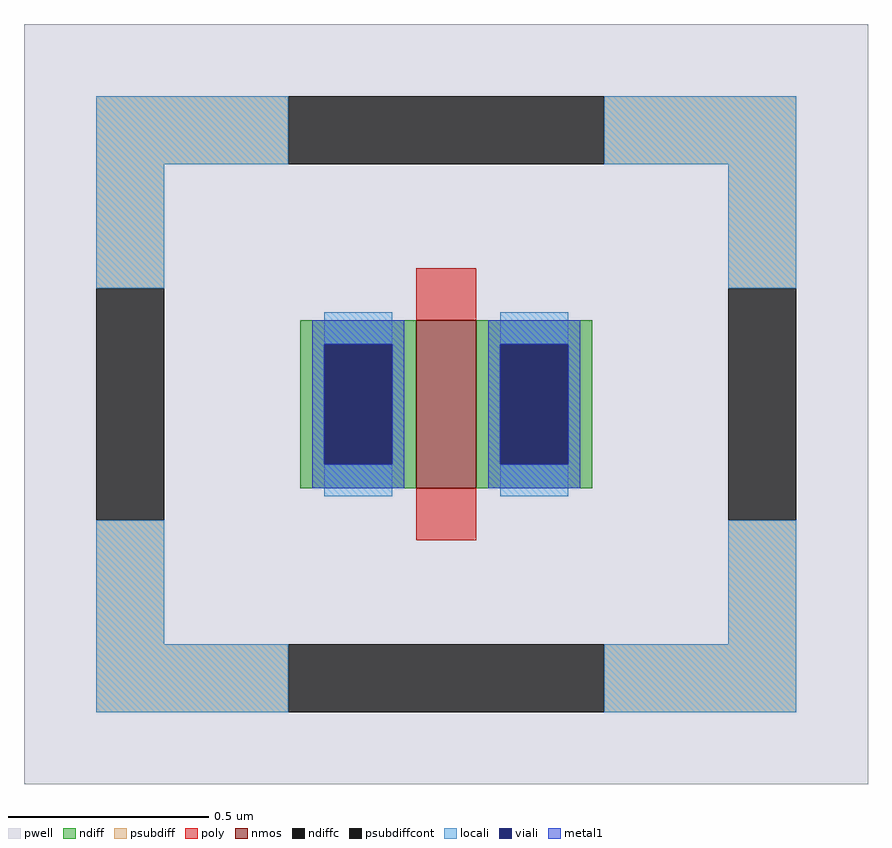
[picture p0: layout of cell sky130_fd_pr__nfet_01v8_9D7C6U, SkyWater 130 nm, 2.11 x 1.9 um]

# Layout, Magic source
magic
tech sky130A
magscale 1 2
<< pwell >>
rect -211 -190 211 190
<< nmos >>
rect -15 -42 15 42
<< ndiff >>
rect -73 30 -15 42
rect -73 -30 -61 30
rect -27 -30 -15 30
rect -73 -42 -15 -30
rect 15 30 73 42
rect 15 -30 27 30
rect 61 -30 73 30
rect 15 -42 73 -30
<< ndiffc >>
rect -61 -30 -27 30
rect 27 -30 61 30
<< psubdiff >>
rect -175 120 -79 154
rect 79 120 175 154
rect -175 58 -141 120
rect 141 58 175 120
rect -175 -120 -141 -58
rect 141 -120 175 -58
rect -175 -154 -79 -120
rect 79 -154 175 -120
<< psubdiffcont >>
rect -79 120 79 154
rect -175 -58 -141 58
rect 141 -58 175 58
rect -79 -154 79 -120
<< poly >>
rect -15 42 15 68
rect -15 -68 15 -42
<< locali >>
rect -175 120 -79 154
rect 79 120 175 154
rect -175 58 -141 120
rect 141 58 175 120
rect -61 30 -27 46
rect -61 -46 -27 -30
rect 27 30 61 46
rect 27 -46 61 -30
rect -175 -120 -141 -58
rect 141 -120 175 -58
rect -175 -154 -79 -120
rect 79 -154 175 -120
<< viali >>
rect -61 -30 -27 30
rect 27 -30 61 30
<< metal1 >>
rect -67 30 -21 42
rect -67 -30 -61 30
rect -27 -30 -21 30
rect -67 -42 -21 -30
rect 21 30 67 42
rect 21 -30 27 30
rect 61 -30 67 30
rect 21 -42 67 -30
<< properties >>
string gencell sky130_fd_pr__nfet_01v8
string FIXED_BBOX -158 -137 158 137
string parameters w 0.420 l 0.150 m 1 nf 1 diffcov 100 polycov 100 guard 1 glc 1 grc 1 gtc 1 gbc 1 tbcov 100 rlcov 100 topc 0 botc 0 poverlap 0 doverlap 1 lmin 0.15 wmin 0.42 compatible {sky130_fd_pr__nfet_01v8 sky130_fd_pr__nfet_01v8_lvt  sky130_fd_bs_flash__special_sonosfet_star  sky130_fd_pr__nfet_g5v0d10v5 sky130_fd_pr__nfet_05v0_nvt} full_metal 1 viasrc 100 viadrn 100 viagate 50 viagb 0 viagr 0 viagl 0 viagt 0
string library sky130
<< end >>
